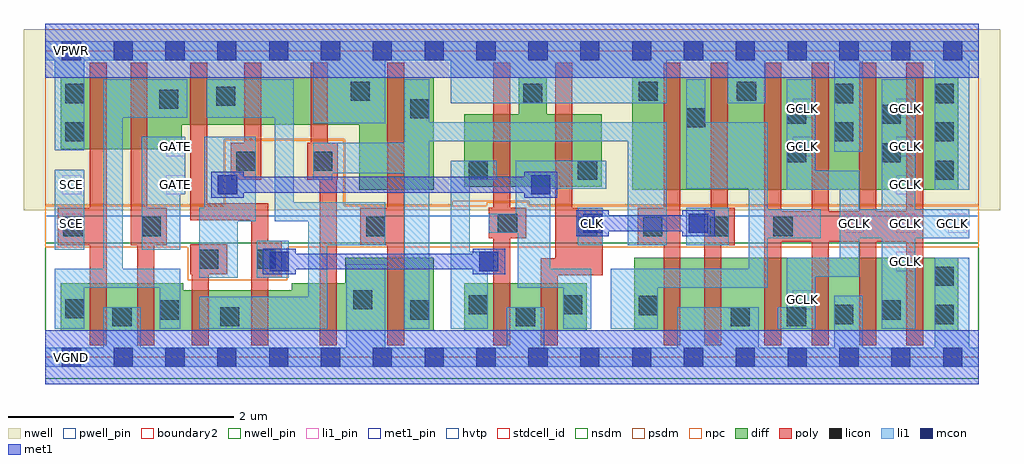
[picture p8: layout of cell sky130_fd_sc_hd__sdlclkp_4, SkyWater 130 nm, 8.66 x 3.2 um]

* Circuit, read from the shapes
.subckt sky130_fd_sc_hd__sdlclkp_4 CLK GATE GCLK SCE VGND VNB VPB VPWR
XM1 VGND SCE n1 VNB sky130_fd_pr__nfet_01v8 w=0.42 l=0.15
XM2 n1 GATE VGND VNB sky130_fd_pr__nfet_01v8 w=0.42 l=0.15
XM3 n2 n3 n1 VNB sky130_fd_pr__nfet_01v8 w=0.36 l=0.15
XM4 n4 n5 n2 VNB sky130_fd_pr__nfet_01v8 w=0.36 l=0.15
XM5 VGND n6 n4 VNB sky130_fd_pr__nfet_01v8 w=0.42 l=0.15
XM6 n6 n2 VGND VNB sky130_fd_pr__nfet_01v8 w=0.65 l=0.15
XM7 VGND n3 n5 VNB sky130_fd_pr__nfet_01v8 w=0.42 l=0.15
XM8 n3 CLK VGND VNB sky130_fd_pr__nfet_01v8 w=0.42 l=0.15
XM9 n7 n6 n8 VNB sky130_fd_pr__nfet_01v8 w=0.65 l=0.15
XM10 VGND CLK n7 VNB sky130_fd_pr__nfet_01v8 w=0.65 l=0.15
XM11 GCLK n8 VGND VNB sky130_fd_pr__nfet_01v8 w=0.65 l=0.15 m=4
XM12 n9 SCE VPWR VPB sky130_fd_pr__pfet_01v8_hvt w=0.64 l=0.15
XM13 n1 GATE n9 VPB sky130_fd_pr__pfet_01v8_hvt w=0.64 l=0.15
XM14 n2 n5 n1 VPB sky130_fd_pr__pfet_01v8_hvt w=0.42 l=0.15
XM15 n10 n3 n2 VPB sky130_fd_pr__pfet_01v8_hvt w=0.42 l=0.15
XM16 VPWR n6 n10 VPB sky130_fd_pr__pfet_01v8_hvt w=0.42 l=0.15
XM17 n6 n2 VPWR VPB sky130_fd_pr__pfet_01v8_hvt w=1 l=0.15
XM18 VPWR n3 n5 VPB sky130_fd_pr__pfet_01v8_hvt w=0.64 l=0.15
XM19 n3 CLK VPWR VPB sky130_fd_pr__pfet_01v8_hvt w=0.64 l=0.15
XM20 n8 n6 VPWR VPB sky130_fd_pr__pfet_01v8_hvt w=1 l=0.15
XM21 VPWR CLK n8 VPB sky130_fd_pr__pfet_01v8_hvt w=1 l=0.15
XM22 GCLK n8 VPWR VPB sky130_fd_pr__pfet_01v8_hvt w=1 l=0.15 m=4
.ends

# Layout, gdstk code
import gdstk
lib = gdstk.Library(unit=1e-6, precision=1e-09)
def R(c, l, rs):  # rectangles x0, y0, x1, y1
    for r in rs: c.add(gdstk.rectangle(r[:2], r[2:], *l))
def A(c, l, x, y, w, h, nx, ny, dx, dy):  # array of equal rectangles
    R(c, l, [(x+i*dx, y+j*dy, x+i*dx+w, y+j*dy+h) for i in range(nx) for j in range(ny)])
def P(c, l, *ps):  # polygons
    for p in ps: c.add(gdstk.Polygon(p, *l))
nwell_pin = (64, 16)
nwell = (64, 20)
diff = (65, 20)
poly = (66, 20)
licon = (66, 44)
li1_pin = (67, 16)
li1 = (67, 20)
mcon = (67, 44)
met1_pin = (68, 16)
met1 = (68, 20)
hvtp = (78, 44)
stdcell_id = (81, 4)
nsdm = (93, 44)
psdm = (94, 20)
npc = (95, 20)
pwell_pin = (122, 16)
boundary2 = (236, 0)

sky130_fd_sc_hd__sdlclkp = lib.new_cell('sky130_fd_sc_hd__sdlclkp_4')
R(sky130_fd_sc_hd__sdlclkp, nwell_pin, [(0.15,2.635,0.32,2.805)])
R(sky130_fd_sc_hd__sdlclkp, nwell, [(-0.19,1.305,8.47,2.91)])
R(sky130_fd_sc_hd__sdlclkp, diff, [(3.715,0.235,4.805,0.655), (5.225,0.235,8.1,0.885), (5.205,1.485,8.1,2.485)])
P(sky130_fd_sc_hd__sdlclkp, diff, [(4.935,2.155),(4.45,2.155),(4.45,2.485),(4.2,2.485),(4.2,2.155),(3.715,2.155),(3.715,1.515),(4.935,1.515)],
  [(3.445,0.885),(2.66,0.885),(2.66,0.655),(2.185,0.655),(2.185,0.595),(1.225,0.595),(1.225,0.655),(0.135,0.655),(0.135,0.235),(3.445,0.235)],
  [(3.445,2.485),(0.135,2.485),(0.135,1.845),(1.21,1.845),(1.21,2.065),(2.785,2.065),(2.785,1.485),(3.445,1.485)])
P(sky130_fd_sc_hd__sdlclkp, poly, [(6.115,1.325),(6.055,1.325),(6.055,2.615),(5.905,2.615),(5.905,1.325),(5.845,1.325),(5.845,0.105),(5.995,0.105),(5.995,0.995),(6.115,0.995)],
  [(7.79,2.615),(7.64,2.615),(7.64,1.295),(7.37,1.295),(7.37,2.615),(7.22,2.615),(7.22,1.295),(6.95,1.295),(6.95,2.615),(6.8,2.615),(6.8,1.295),(6.53,1.295),(6.53,2.615),(6.38,2.615),(6.38,0.105),(6.53,0.105),(6.53,1.025),(6.8,1.025),(6.8,0.105),(6.95,0.105),(6.95,1.025),(7.22,1.025),(7.22,0.105),(7.37,0.105),(7.37,1.025),(7.64,1.025),(7.64,0.105),(7.79,0.105)],
  [(4.265,1.325),(4.125,1.325),(4.125,2.615),(3.975,2.615),(3.975,1.325),(3.935,1.325),(3.935,1.055),(3.975,1.055),(3.975,0.105),(4.125,0.105),(4.125,1.055),(4.265,1.055)],
  [(3.185,2.615),(3.035,2.615),(3.035,1.325),(2.795,1.325),(2.795,0.995),(3.035,0.995),(3.035,0.105),(3.185,0.105)],
  [(2.595,1.905),(2.505,1.905),(2.505,2.615),(2.355,2.615),(2.355,1.905),(2.325,1.905),(2.325,1.575),(2.435,1.575),(2.435,0.105),(2.585,0.105),(2.585,1.575),(2.595,1.575)],
  [(2.095,1.035),(1.975,1.035),(1.975,1.365),(1.435,1.365),(1.435,2.615),(1.285,2.615),(1.285,1.215),(1.825,1.215),(1.825,0.105),(1.975,0.105),(1.975,0.705),(2.095,0.705)],
  [(1.915,2.615),(1.765,2.615),(1.765,1.905),(1.645,1.905),(1.645,1.575),(1.915,1.575)],
  [(5.635,2.615),(5.485,2.615),(5.485,1.325),(5.255,1.325),(5.255,0.995),(5.485,0.995),(5.485,0.105),(5.635,0.105)],
  [(4.945,1.325),(4.675,1.325),(4.675,2.615),(4.525,2.615),(4.525,0.88),(4.395,0.88),(4.395,0.105),(4.545,0.105),(4.545,0.73),(4.945,0.73)],
  [(1.615,1.005),(1.285,1.005),(1.285,0.735),(1.3,0.735),(1.3,0.105),(1.45,0.105),(1.45,0.735),(1.615,0.735)],
  [(1.075,1.325),(0.905,1.325),(0.905,2.615),(0.755,2.615),(0.755,0.995),(0.815,0.995),(0.815,0.105),(0.965,0.105),(0.965,0.995),(1.075,0.995)],
  [(0.545,2.615),(0.395,2.615),(0.395,1.325),(0.11,1.325),(0.11,0.995),(0.395,0.995),(0.395,0.105),(0.545,0.105)])
A(sky130_fd_sc_hd__sdlclkp, licon, 7.89, 1.575, 0.17, 0.17, 1, 3, 0, 0.34)
R(sky130_fd_sc_hd__sdlclkp, licon, [(0.595,0.275,0.765,0.445), (1.55,0.275,1.72,0.445), (4.175,0.275,4.345,0.445), (6.08,0.275,6.25,0.445), (6.58,0.275,6.75,0.445), (7,0.295,7.17,0.465), (7.89,0.295,8.06,0.465), (1.015,0.335,1.185,0.505), (3.235,0.335,3.405,0.505), (7.42,0.335,7.59,0.505), (0.175,0.345,0.345,0.515), (5.265,0.375,5.435,0.545), (3.755,0.38,3.925,0.55), (4.595,0.38,4.765,0.55), (2.73,0.425,2.9,0.595), (7.89,0.635,8.06,0.805), (1.365,0.785,1.535,0.955), (1.875,0.785,2.045,0.955), (0.16,1.075,0.33,1.245), (0.855,1.075,1.025,1.245), (2.845,1.075,3.015,1.245), (4.725,1.075,4.895,1.245), (5.305,1.075,5.475,1.245), (5.895,1.075,6.065,1.245), (6.46,1.075,6.63,1.245), (4.015,1.105,4.185,1.275), (3.755,1.575,3.925,1.745), (4.725,1.575,4.895,1.745), (1.695,1.655,1.865,1.825), (2.375,1.655,2.545,1.825), (6.58,1.73,6.75,1.9), (7.42,1.73,7.59,1.9), (0.175,1.915,0.345,2.085), (7,1.915,7.17,2.085), (5.685,2.04,5.855,2.21), (6.58,2.07,6.75,2.24), (7.42,2.07,7.59,2.24), (3.235,2.12,3.405,2.29), (1.01,2.205,1.18,2.375), (1.515,2.23,1.685,2.4), (0.175,2.255,0.345,2.425), (4.24,2.255,4.41,2.425), (7,2.255,7.17,2.425), (2.71,2.275,2.88,2.445), (5.265,2.275,5.435,2.445), (6.135,2.275,6.305,2.445)])
A(sky130_fd_sc_hd__sdlclkp, li1_pin, 7.09, 1.105, 0.17, 0.17, 3, 1, 0.46, 0)
A(sky130_fd_sc_hd__sdlclkp, li1_pin, 7.55, 1.445, 0.17, 0.17, 1, 3, 0, 0.34)
R(sky130_fd_sc_hd__sdlclkp, li1_pin, [(6.63,0.425,6.8,0.595), (7.55,0.765,7.72,0.935), (0.15,1.105,0.32,1.275), (4.77,1.105,4.94,1.275), (0.15,1.445,0.32,1.615), (1.07,1.445,1.24,1.615), (1.07,1.785,1.24,1.955), (6.63,1.785,6.8,1.955), (6.63,2.125,6.8,2.295)])
R(sky130_fd_sc_hd__sdlclkp, li1, [(1.875,0.705,2.16,1.035), (0.085,0.955,0.345,1.665), (4.725,0.995,4.945,1.325), (5.685,0.995,6.065,1.325)])
P(sky130_fd_sc_hd__sdlclkp, li1, [(8.28,0.085),(8.195,0.085),(8.195,0.885),(7.89,0.885),(7.89,0.085),(7.25,0.085),(7.25,0.545),(7,0.545),(7,0.085),(6.33,0.085),(6.33,0.445),(5.605,0.445),(5.605,0.085),(4.425,0.085),(4.425,0.445),(4.095,0.445),(4.095,0.085),(3.015,0.085),(3.015,0.825),(2.67,0.825),(2.67,0.085),(0.845,0.085),(0.845,0.445),(0.515,0.445),(0.515,0.085),(0,0.085),(0,-0.085),(8.28,-0.085)],
  [(8.28,2.805),(0,2.805),(0,2.635),(0.085,2.635),(0.085,1.835),(0.345,1.835),(0.345,2.635),(2.375,2.635),(2.375,2.075),(3.015,2.075),(3.015,2.635),(3.595,2.635),(3.595,2.255),(5.515,2.255),(5.515,2.635),(6.055,2.635),(6.055,2.255),(6.385,2.255),(6.385,2.635),(7,2.635),(7,1.825),(7.25,1.825),(7.25,2.635),(7.89,2.635),(7.89,1.485),(8.195,1.485),(8.195,2.635),(8.28,2.635)],
  [(8.195,1.315),(7.72,1.315),(7.72,2.465),(7.42,2.465),(7.42,1.315),(7.22,1.315),(7.22,1.655),(6.83,1.655),(6.83,2.465),(6.58,2.465),(6.58,1.485),(7.05,1.485),(7.05,0.885),(6.58,0.885),(6.58,0.445),(6.5,0.445),(6.5,0.255),(6.83,0.255),(6.83,0.715),(7.22,0.715),(7.22,1.055),(7.42,1.055),(7.42,0.255),(7.72,0.255),(7.72,1.055),(8.195,1.055)],
  [(6.88,1.315),(6.41,1.315),(6.41,2.085),(5.855,2.085),(5.855,2.465),(5.685,2.465),(5.685,1.495),(6.24,1.495),(6.24,0.785),(5.015,0.785),(5.015,0.255),(5.435,0.255),(5.435,0.615),(6.41,0.615),(6.41,1.055),(6.88,1.055)],
  [(5.515,2.085),(3.405,2.085),(3.405,2.465),(3.185,2.465),(3.185,1.905),(2.375,1.905),(2.375,1.575),(2.545,1.575),(2.545,1.635),(3.185,1.635),(3.185,0.255),(3.405,0.255),(3.405,1.915),(5.165,1.915),(5.165,0.995),(5.515,0.995)],
  [(4.975,1.745),(4.175,1.745),(4.175,1.275),(3.935,1.275),(3.935,1.105),(4.19,1.105),(4.19,0.615),(4.595,0.615),(4.595,0.255),(4.845,0.255),(4.845,0.785),(4.48,0.785),(4.48,1.495),(4.975,1.495)],
  [(4.02,0.935),(3.765,0.935),(3.765,1.575),(4.005,1.575),(4.005,1.745),(3.595,1.745),(3.595,0.255),(3.925,0.255),(3.925,0.765),(4.02,0.765)],
  [(3.015,1.375),(2.205,1.375),(2.205,2.465),(1.43,2.465),(1.43,2.125),(2.035,2.125),(2.035,1.205),(2.33,1.205),(2.33,0.535),(1.365,0.535),(1.365,0.255),(2.5,0.255),(2.5,0.995),(3.015,0.995)],
  [(1.865,1.955),(1.41,1.955),(1.41,1.325),(1.365,1.325),(1.365,0.705),(1.705,0.705),(1.705,1.205),(1.865,1.205)],
  [(1.26,2.465),(0.515,2.465),(0.515,0.785),(0.085,0.785),(0.085,0.255),(0.345,0.255),(0.345,0.615),(1.015,0.615),(1.015,0.255),(1.195,0.255),(1.195,0.785),(0.685,0.785),(0.685,2.125),(1.26,2.125)],
  [(1.24,1.955),(0.855,1.955),(0.855,0.955),(1.195,0.955),(1.195,1.445),(1.24,1.445)])
A(sky130_fd_sc_hd__sdlclkp, mcon, 0.145, -0.085, 0.17, 0.17, 18, 2, 0.46, 2.72)
R(sky130_fd_sc_hd__sdlclkp, mcon, [(1.99,0.765,2.16,0.935), (3.85,0.765,4.02,0.935), (4.77,1.105,4.94,1.275), (5.71,1.105,5.88,1.275), (1.53,1.445,1.7,1.615), (4.31,1.445,4.48,1.615)])
R(sky130_fd_sc_hd__sdlclkp, met1_pin, [(0.15,-0.085,0.32,0.085), (0.15,2.635,0.32,2.805)])
P(sky130_fd_sc_hd__sdlclkp, met1, [(4.08,0.965),(3.79,0.965),(3.79,0.92),(2.22,0.92),(2.22,0.965),(1.93,0.965),(1.93,0.735),(2.22,0.735),(2.22,0.78),(3.79,0.78),(3.79,0.735),(4.08,0.735)],
  [(5.94,1.305),(5.65,1.305),(5.65,1.26),(5,1.26),(5,1.305),(4.71,1.305),(4.71,1.075),(5,1.075),(5,1.12),(5.65,1.12),(5.65,1.075),(5.94,1.075)],
  [(4.54,1.645),(4.25,1.645),(4.25,1.6),(1.76,1.6),(1.76,1.645),(1.47,1.645),(1.47,1.415),(1.76,1.415),(1.76,1.46),(4.25,1.46),(4.25,1.415),(4.54,1.415)])
R(sky130_fd_sc_hd__sdlclkp, hvtp, [(0,1.25,8.28,2.72)])
R(sky130_fd_sc_hd__sdlclkp, stdcell_id, [(0,0,8.28,2.72)])
R(sky130_fd_sc_hd__sdlclkp, nsdm, [(0,-0.19,8.28,1.015)])
P(sky130_fd_sc_hd__sdlclkp, psdm, [(8.28,2.91),(0,2.91),(0,1.355),(1.585,1.355),(1.585,1.935),(2.655,1.935),(2.655,1.355),(3.615,1.355),(3.615,1.385),(4.295,1.385),(4.295,1.355),(8.28,1.355)])
P(sky130_fd_sc_hd__sdlclkp, npc, [(8.28,1.345),(4.285,1.345),(4.285,1.375),(3.915,1.375),(3.915,1.345),(2.645,1.345),(2.645,1.925),(1.595,1.925),(1.595,1.345),(0,1.345),(0,0.975),(1.265,0.975),(1.265,0.685),(2.145,0.685),(2.145,0.975),(8.28,0.975)])
R(sky130_fd_sc_hd__sdlclkp, pwell_pin, [(0.15,-0.085,0.32,0.085)])
R(sky130_fd_sc_hd__sdlclkp, boundary2, [(0,0,8.28,2.72)])
sky130_fd_sc_hd__sdlclkp.add(gdstk.FlexPath([(0,2.72),(8.28,2.72)], 0.48, ends="flush", simple_path=True, layer=68, datatype=20))  # met1
sky130_fd_sc_hd__sdlclkp.add(gdstk.FlexPath([(0,0),(8.28,0)], 0.48, ends="flush", simple_path=True, layer=68, datatype=20))  # met1
sky130_fd_sc_hd__sdlclkp.add(gdstk.Label('SCE', (0.23,1.53), layer=67, texttype=5))
sky130_fd_sc_hd__sdlclkp.add(gdstk.Label('CLK', (4.855,1.19), layer=67, texttype=5))
sky130_fd_sc_hd__sdlclkp.add(gdstk.Label('GCLK', (6.715,2.21), layer=67, texttype=5))
sky130_fd_sc_hd__sdlclkp.add(gdstk.Label('GCLK', (6.715,1.87), layer=67, texttype=5))
sky130_fd_sc_hd__sdlclkp.add(gdstk.Label('GATE', (1.155,1.87), layer=67, texttype=5))
sky130_fd_sc_hd__sdlclkp.add(gdstk.Label('GCLK', (6.715,0.51), layer=67, texttype=5))
sky130_fd_sc_hd__sdlclkp.add(gdstk.Label('GATE', (1.155,1.53), layer=67, texttype=5))
sky130_fd_sc_hd__sdlclkp.add(gdstk.Label('SCE', (0.23,1.19), layer=67, texttype=5))
sky130_fd_sc_hd__sdlclkp.add(gdstk.Label('GCLK', (7.175,1.19), layer=67, texttype=5))
sky130_fd_sc_hd__sdlclkp.add(gdstk.Label('GCLK', (7.635,2.21), layer=67, texttype=5))
sky130_fd_sc_hd__sdlclkp.add(gdstk.Label('GCLK', (7.635,1.87), layer=67, texttype=5))
sky130_fd_sc_hd__sdlclkp.add(gdstk.Label('GCLK', (7.635,1.53), layer=67, texttype=5))
sky130_fd_sc_hd__sdlclkp.add(gdstk.Label('GCLK', (7.635,1.19), layer=67, texttype=5))
sky130_fd_sc_hd__sdlclkp.add(gdstk.Label('GCLK', (8.05,1.19), layer=67, texttype=5))
sky130_fd_sc_hd__sdlclkp.add(gdstk.Label('GCLK', (7.635,0.85), layer=67, texttype=5))
sky130_fd_sc_hd__sdlclkp.add(gdstk.Label('VGND', (0.23,0), layer=68, texttype=5))
sky130_fd_sc_hd__sdlclkp.add(gdstk.Label('VPWR', (0.23,2.72), layer=68, texttype=5))
sky130_fd_sc_hd__sdlclkp.add(gdstk.Label('VPB', (0.235,2.72), layer=64, texttype=5))
sky130_fd_sc_hd__sdlclkp.add(gdstk.Label('VNB', (0.235,0), layer=64, texttype=59))
sky130_fd_sc_hd__sdlclkp.add(gdstk.Label('sdlclkp_4', (0,0), layer=83, texttype=44))

lib.write_gds('sky130_fd_sc_hd__sdlclkp_4.gds')
